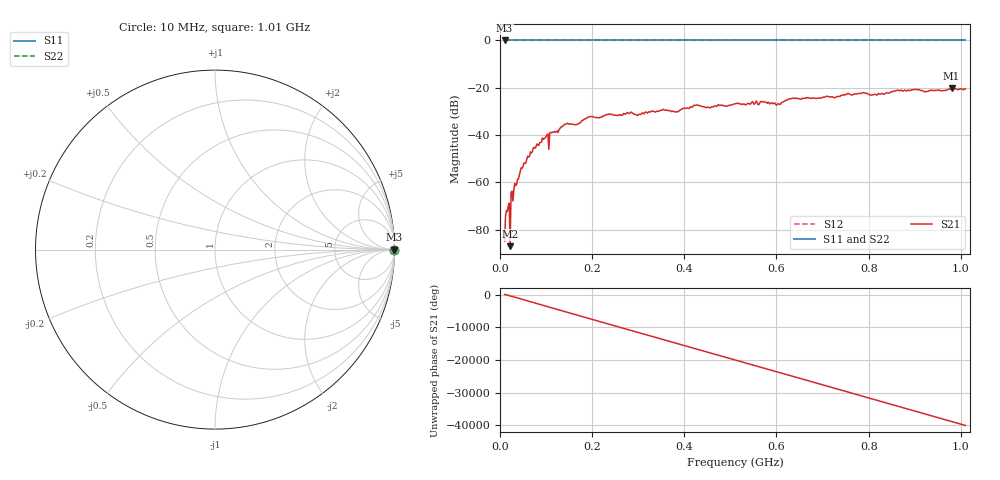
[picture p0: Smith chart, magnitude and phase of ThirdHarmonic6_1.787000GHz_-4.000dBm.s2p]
! 8/16/2025 9:36:29 PM
! C:\ANRITSUVNA\TEMP\TEMP.S2P
! CHANNEL.1
! TR.MEASUREMENT
! RAW.DATA
! RF.CORRECTION.OFF
! AVERAGING.OFF
! IF.BANDWIDTH: 5KHZ
! SWEEPTYPE:  FREQ.SWEEP(Linear)
! Reference Plane Port Info
! PORT:  PORT1  PORT2
! DISTANCE:  0  m  0  m
! TIME:  0  s  0  s
! PHASE.OFFSET:  0  deg.  0  deg.
! LOSS:  0  dB  0  dB
! REF.LOSS:  0  dB  0  dB
! REF.FREQ:  0  Hz  0  Hz
! Power Info
! POWER:  -20  dBm  -20  dBm
! EFF.POWER:  -20  dBm  -20  dBm
! SOURCE.ATTEN:  0  dB  0  dB
! TEST.ATTEN:  0  dB  0  dB
# GHZ S RI R 50.0
! FREQ.GHZ  S11RE  S11IM  S21RE  S21IM  S12RE  S12IM  S22RE  S22IM
!; PortSelection: Port_12
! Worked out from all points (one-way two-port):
!   501 points, 10 MHz to 1.01 GHz, reference 50 ohm
!   highest |S21| = -20.27 dB at 980 MHz (marker M1); lowest = -87.0 dB at 22 MHz (marker M2)
!   lowest |S11| = 0.0 dB at 10 MHz (marker M3)
!   |S11| at or under -10 dB: nowhere
!   |S22| runs from 0.0 to 0.0 dB; largest |S21 - S12| = 1.1
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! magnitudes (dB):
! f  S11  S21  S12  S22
! 10 MHz  0.0  -84.8  0.0  0.0
! 16 MHz  0.0  -72.3  0.0  0.0
! 18 MHz  0.0  -70.1  0.0  0.0
! 22 MHz  0.0  -87.0  0.0  0.0
! 26 MHz  0.0  -63.7  0.0  0.0
! 28 MHz  0.0  -67.9  0.0  0.0
! 48 MHz  0.0  -54.0  0.0  0.0
! 76 MHz  0.0  -45.6  0.0  0.0
! 142 MHz  0.0  -35.5  0.0  0.0
! 178 MHz  0.0  -33.8  0.0  0.0
! 234 MHz  0.0  -31.5  0.0  0.0
! 344 MHz  0.0  -30.0  0.0  0.0
! 384 MHz  0.0  -30.1  0.0  0.0
! 424 MHz  0.0  -27.5  0.0  0.0
! 452 MHz  0.0  -28.2  0.0  0.0
! 510 MHz  0.0  -26.8  0.0  0.0
! 604 MHz  0.0  -26.7  0.0  0.0
! 632 MHz  0.0  -24.6  0.0  0.0
! 678 MHz  0.0  -24.4  0.0  0.0
! 844 MHz  0.0  -22.3  0.0  0.0
! 980 MHz  0.0  -20.3  0.0  0.0
! 1.01 GHz  0.0  -20.5  0.0  0.0
